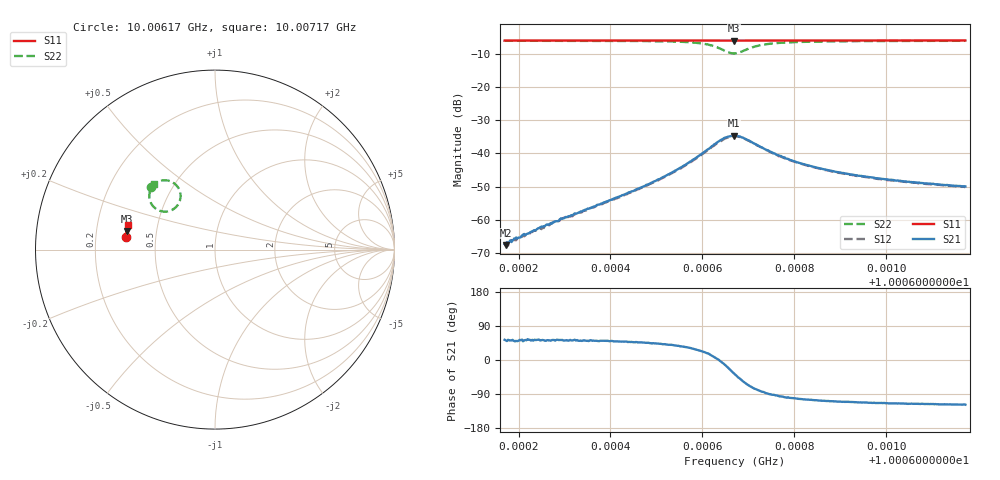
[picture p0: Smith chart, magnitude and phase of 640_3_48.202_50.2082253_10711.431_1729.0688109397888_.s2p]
#  HZ  S  RI  R  50.00
! Rohde & Schwarz Vector Network Analyzer
! Rohde-Schwarz,ZNB20-2Port,1311601062101988,3.16
! Created: UTC 3/20/2024, 12:04:47 PM
! freq[Hz]  re:S11  im:S11  re:S21  im:S21  re:S12  im:S12  re:S22  im:S22
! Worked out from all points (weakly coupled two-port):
!   401 points, 10.00617 GHz to 10.00717 GHz, reference 50 ohm
!   highest |S21| = -34.62 dB at 10.00667 GHz (marker M1); lowest = -67.6 dB at 10.00617 GHz (marker M2)
!   lowest |S11| = -6.0 dB at 10.00667 GHz (marker M3), VSWR 3.02, Z = 16.7 + j4.59 ohm
!   |S11| at or under -10 dB: nowhere
!   |S22| runs from -9.9 to -6.0 dB; largest |S21 - S12| = 0.0015
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1.000617e10  -0.4986 0.0712  0.000254 0.000343  0.000206 0.000341  -0.3588 0.347
1.0006172e10  -0.4984 0.0713  0.000257 0.000327  0.000232 0.000338  -0.3586 0.3473
1.0006185e10  -0.4983 0.0721  0.000285 0.000361  0.000262 0.000414  -0.3577 0.3483
1.0006217e10  -0.4981 0.0743  0.00037 0.000477  0.000363 0.000496  -0.3553 0.3507
1.0006295e10  -0.4975 0.0794  0.000624 0.000828  0.000572 0.000862  -0.3488 0.3569
1.0006338e10  -0.497 0.0821  0.000854 0.00103  0.000775 0.00104  -0.3445 0.3608
1.000642e10  -0.4962 0.0877  0.00148 0.00169  0.00135 0.00171  -0.3334 0.3693
1.0006505e10  -0.4953 0.0933  0.00297 0.00279  0.00278 0.00285  -0.3131 0.3801
1.0006558e10  -0.4945 0.0967  0.00526 0.00373  0.00493 0.00386  -0.2872 0.3859
1.0006611e10  -0.4933 0.1001  0.0109 0.00344  0.0104 0.00388  -0.2334 0.3731
1.0006628e10  -0.4929 0.1013  0.0139 0.00148  0.0134 0.00213  -0.2082 0.3496
1.0006646e10  -0.4923 0.102  0.0166 -0.00268  0.0163 -0.00157  -0.1919 0.3053
1.0006668e10  -0.4918 0.1026  0.0152 -0.0107  0.0155 -0.00925  -0.2192 0.2351
1.0006671e10  -0.4919 0.1027  0.0146 -0.0113  0.015 -0.0101  -0.226 0.2295
1.0006691e10  -0.4923 0.1035  0.0087 -0.0144  0.00953 -0.0137  -0.2873 0.2119
1.0006728e10  -0.4925 0.1059  0.00142 -0.0123  0.00222 -0.0122  -0.3516 0.2503
1.0006761e10  -0.4925 0.1082  -0.000549 -0.00947  -0.000299 -0.0095  -0.3646 0.2824
1.0006784e10  -0.4923 0.1098  -0.00139 -0.00818  -0.00078 -0.00816  -0.366 0.2978
1.0006839e10  -0.4915 0.1135  -0.00169 -0.00611  -0.00138 -0.00611  -0.3632 0.3216
1.0006919e10  -0.4907 0.1188  -0.00171 -0.00458  -0.0015 -0.00454  -0.3564 0.3402
1.0007006e10  -0.4895 0.1244  -0.00166 -0.00364  -0.00142 -0.00368  -0.3493 0.3524
1.0007172e10  -0.4871 0.1349  -0.00149 -0.00281  -0.00131 -0.00279  -0.338 0.3673
